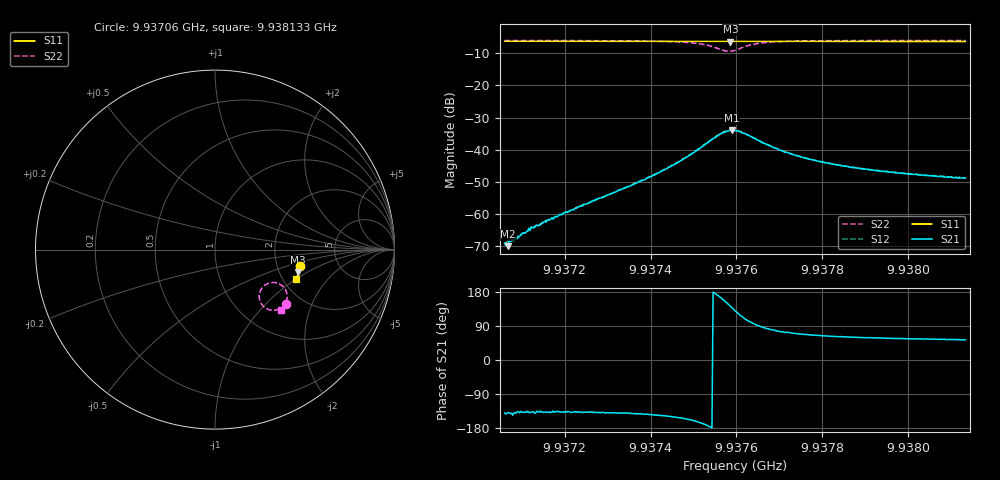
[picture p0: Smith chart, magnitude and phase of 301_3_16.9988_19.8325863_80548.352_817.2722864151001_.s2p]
#  HZ  S  RI  R  50.00
! Rohde & Schwarz Vector Network Analyzer
! Rohde-Schwarz,ZNB20-2Port,1311601062101988,3.16
! Created: UTC 3/20/2024, 11:05:37 PM
! freq[Hz]  re:S11  im:S11  re:S21  im:S21  re:S12  im:S12  re:S22  im:S22
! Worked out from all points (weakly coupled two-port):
!   401 points, 9.93706 GHz to 9.938133 GHz, reference 50 ohm
!   highest |S21| = -33.97 dB at 9.937589 GHz (marker M1); lowest = -70.0 dB at 9.937068 GHz (marker M2)
!   lowest |S11| = -6.4 dB at 9.937586 GHz (marker M3), VSWR 2.85, Z = 127 - j41.3 ohm
!   |S11| at or under -10 dB: nowhere
!   |S22| runs from -9.4 to -6.0 dB; largest |S21 - S12| = 0.00094
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9.9370604e9  0.4757 -0.0917  -0.000269 -0.000227  -0.000273 -0.000229  0.3957 -0.3033
9.9370684e9  0.4757 -0.0922  -0.00024 -0.000209  -0.000301 -0.000239  0.3949 -0.3038
9.9370845e9  0.4753 -0.0935  -0.00032 -0.000279  -0.000315 -0.000285  0.394 -0.305
9.9370979e9  0.475 -0.0943  -0.000337 -0.00033  -0.000371 -0.000295  0.3928 -0.3059
9.9371221e9  0.4746 -0.096  -0.000473 -0.000423  -0.00045 -0.000395  0.391 -0.3075
9.9371596e9  0.4737 -0.0985  -0.000594 -0.000534  -0.00059 -0.000548  0.3882 -0.3104
9.9372401e9  0.4723 -0.104  -0.000999 -0.000876  -0.001 -0.00092  0.3805 -0.3169
9.93735e9  0.47 -0.1114  -0.00209 -0.00173  -0.00215 -0.00168  0.3656 -0.3272
9.9374197e9  0.4686 -0.116  -0.00367 -0.00245  -0.00376 -0.00247  0.3488 -0.3348
9.9374841e9  0.4667 -0.1206  -0.007 -0.00317  -0.00713 -0.00308  0.3183 -0.3382
9.937527e9  0.4652 -0.1232  -0.0119 -0.00206  -0.0121 -0.00182  0.2788 -0.3238
9.9375618e9  0.4639 -0.125  -0.0168 0.0042  -0.0171 0.00462  0.2465 -0.2678
9.937586e9  0.4632 -0.1254  -0.0156 0.0123  -0.0155 0.013  0.2693 -0.2053
9.9375886e9  0.4633 -0.1257  -0.0151 0.0132  -0.015 0.0139  0.2754 -0.2001
9.9375967e9  0.4633 -0.1259  -0.0127 0.0153  -0.0125 0.0157  0.2956 -0.1882
9.9376235e9  0.4636 -0.1272  -0.00471 0.0167  -0.00437 0.0168  0.3602 -0.1916
9.937653e9  0.4635 -0.1294  0.000146 0.0137  0.000391 0.0139  0.3926 -0.2236
9.9377093e9  0.4627 -0.1335  0.00261 0.00914  0.00275 0.00912  0.402 -0.2666
9.9377763e9  0.4614 -0.1384  0.00287 0.00636  0.00299 0.00637  0.3965 -0.2914
9.9378648e9  0.4591 -0.1441  0.00263 0.00466  0.00274 0.00466  0.3883 -0.3086
9.937956e9  0.4568 -0.1501  0.00241 0.00378  0.00251 0.0038  0.3807 -0.3196
9.938133e9  0.4522 -0.1615  0.00216 0.00291  0.0022 0.00293  0.3682 -0.3341
